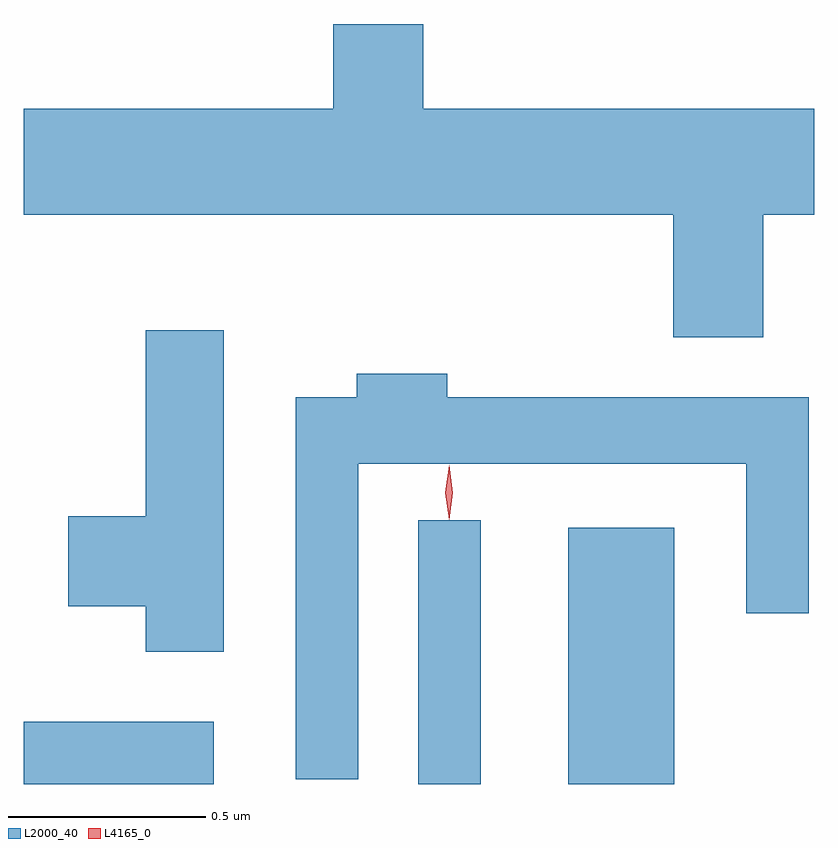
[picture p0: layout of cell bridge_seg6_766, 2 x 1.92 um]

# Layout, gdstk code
import gdstk
lib = gdstk.Library(unit=1e-6, precision=1e-09)
def R(c, l, rs):  # rectangles x0, y0, x1, y1
    for r in rs: c.add(gdstk.rectangle(r[:2], r[2:], *l))
def P(c, l, *ps):  # polygons
    for p in ps: c.add(gdstk.Polygon(p, *l))
L2000_40 = (2000, 40)
L4165_0 = (4165, 0)

bridge_seg6_766 = lib.new_cell('bridge_seg6_766')
R(bridge_seg6_766, L2000_40, [(438.838,1586.336,439.319,1586.494), (439.836,1586.336,439.994,1587.003), (440.216,1586.336,440.484,1586.984)])
P(bridge_seg6_766, L2000_40, [(440.709,1587.776),(440.838,1587.776),(440.838,1588.044),(439.849,1588.044),(439.849,1588.259),(439.621,1588.259),(439.621,1588.044),(438.838,1588.044),(438.838,1587.776),(440.481,1587.776),(440.481,1587.466),(440.709,1587.466)],
  [(439.344,1587.484),(439.146,1587.484),(439.146,1587.014),(438.951,1587.014),(438.951,1586.786),(439.146,1586.786),(439.146,1586.671),(439.344,1586.671)],
  [(439.684,1587.146),(440.666,1587.146),(440.666,1586.768),(440.824,1586.768),(440.824,1587.314),(439.909,1587.314),(439.909,1587.374),(439.681,1587.374),(439.681,1587.314),(439.526,1587.314),(439.526,1586.348),(439.684,1586.348)])
P(bridge_seg6_766, L4165_0, [(439.914,1587.004),(439.914,1587.004),(439.904,1587.073),(439.914,1587.143),(439.914,1587.143),(439.915,1587.143),(439.924,1587.073),(439.915,1587.004)])

lib.write_gds('bridge_seg6_766.gds')
